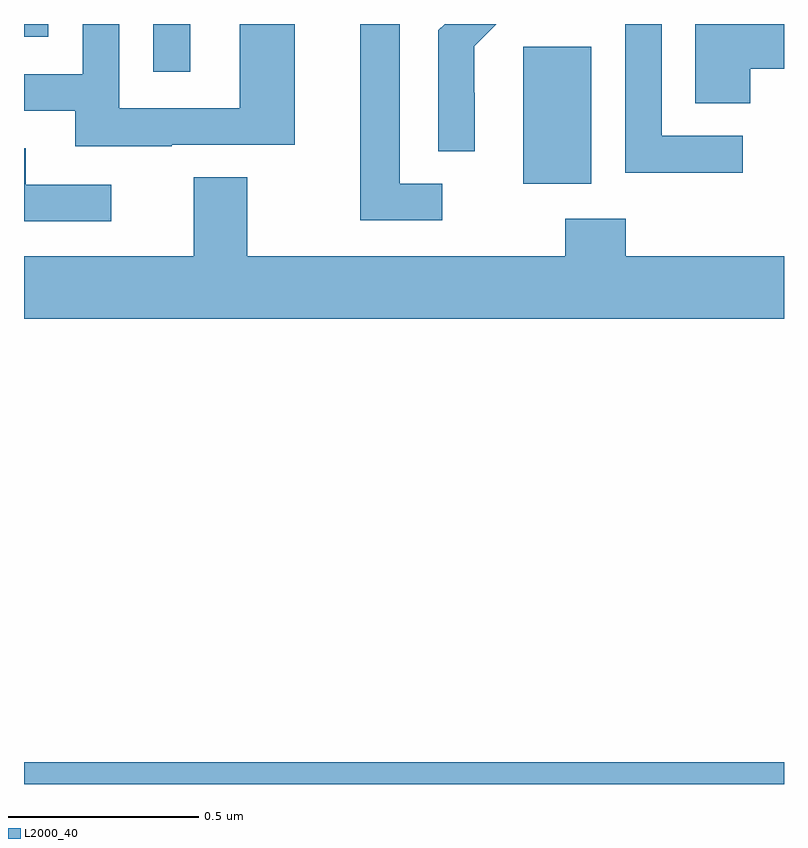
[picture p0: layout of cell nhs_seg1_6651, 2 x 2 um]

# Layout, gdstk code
import gdstk
lib = gdstk.Library(unit=1e-6, precision=1e-09)
def R(c, l, rs):  # rectangles x0, y0, x1, y1
    for r in rs: c.add(gdstk.rectangle(r[:2], r[2:], *l))
def P(c, l, *ps):  # polygons
    for p in ps: c.add(gdstk.Polygon(p, *l))
L2000_40 = (2000, 40)

nhs_seg1_6651 = lib.new_cell('nhs_seg1_6651')
R(nhs_seg1_6651, L2000_40, [(194,525.199,196,525.256), (195.314,526.778,195.493,527.139), (194.34,527.073,194.437,527.199), (194,527.166,194.064,527.199)])
P(nhs_seg1_6651, L2000_40, [(195.186,527.018),(195.185,527.018),(195.185,527.141),(195.243,527.199),(195.107,527.199),(195.09,527.182),(195.09,526.864),(195.186,526.864)],
  [(195.892,526.905),(195.678,526.905),(195.678,527.199),(195.582,527.199),(195.582,526.807),(195.892,526.807)],
  [(194.389,526.881),(194.713,526.881),(194.713,527.199),(194.568,527.199),(194.568,526.977),(194.25,526.977),(194.25,527.199),(194.154,527.199),(194.154,527.067),(194,527.067),(194,526.971),(194.135,526.971),(194.135,526.877),(194.389,526.877)],
  [(195.1,526.779),(194.989,526.779),(194.989,527.199),(194.885,527.199),(194.885,526.683),(195.1,526.683)],
  [(195.911,527.081),(196,527.081),(196,527.199),(195.767,527.199),(195.767,526.99),(195.911,526.99)],
  [(194.23,526.776),(194.005,526.776),(194.005,526.872),(194,526.872),(194,526.68),(194.23,526.68)],
  [(196,526.588),(195.584,526.588),(195.584,526.687),(195.424,526.687),(195.424,526.588),(194.587,526.588),(194.587,526.796),(194.447,526.796),(194.447,526.588),(194,526.588),(194,526.424),(196,526.424)])

lib.write_gds('nhs_seg1_6651.gds')
